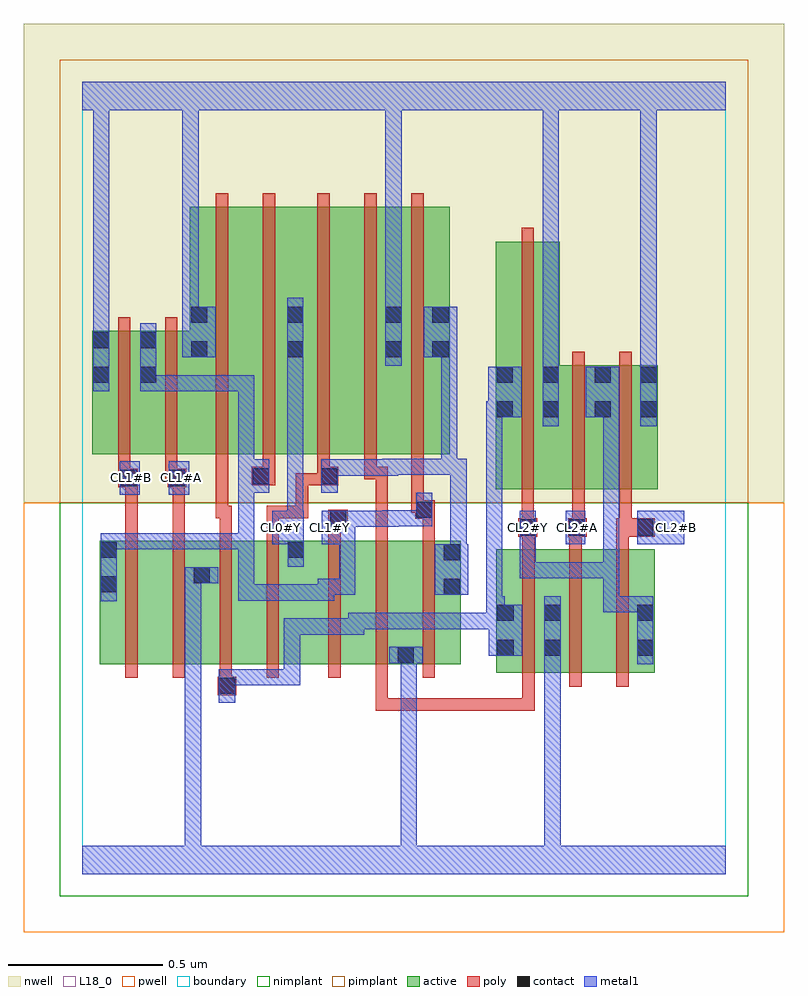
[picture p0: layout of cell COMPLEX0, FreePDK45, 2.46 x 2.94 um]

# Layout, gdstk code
import gdstk
lib = gdstk.Library(unit=1e-6, precision=1e-09)
def R(c, l, rs):  # rectangles x0, y0, x1, y1
    for r in rs: c.add(gdstk.rectangle(r[:2], r[2:], *l))
def A(c, l, x, y, w, h, nx, ny, dx, dy):  # array of equal rectangles
    R(c, l, [(x+i*dx, y+j*dy, x+i*dx+w, y+j*dy+h) for i in range(nx) for j in range(ny)])
active = (1, 0)
pwell = (2, 0)
nwell = (3, 0)
nimplant = (4, 0)
pimplant = (5, 0)
poly = (9, 0)
contact = (10, 0)
metal1 = (11, 0)
L18_0 = (18, 0)
boundary = (235, 0)

complex0 = lib.new_cell('COMPLEX0')
R(complex0, active, [(1.338,0.65,1.398,1.05), (1.338,0.65,1.55,1.05), (1.49,0.65,1.67,1.05), (1.49,0.65,1.55,0.874), (1.67,0.65,1.85,1.05), (1.79,0.65,1.85,1.05), (0.056,0.678,0.236,1.078), (0.236,0.678,0.416,1.078), (0.356,0.678,0.54,1.078), (0.54,0.678,0.72,1.078), (0.66,0.678,0.892,1.078), (0.892,0.678,1.076,1.078), (1.016,0.678,1.224,1.078), (1.016,0.678,1.076,0.792), (0.056,0.756,0.116,1.078), (0.356,0.756,0.416,0.996), (0.66,0.756,0.72,1.078), (1.164,0.756,1.224,1.078), (1.336,1.244,1.396,2.044), (1.336,1.244,1.544,2.044), (1.484,1.244,1.712,1.644), (1.484,1.244,1.544,2.044), (1.652,1.244,1.712,1.644), (1.652,1.244,1.86,1.644), (1.8,1.244,1.86,1.644), (0.032,1.356,0.092,1.756), (0.032,1.356,0.244,1.756), (0.184,1.356,0.408,1.756), (0.348,1.356,0.528,2.156), (0.528,1.356,0.718,2.156), (0.658,1.356,0.718,2.044), (0.658,1.356,0.856,2.156), (0.856,1.356,1.036,2.156), (0.976,1.356,1.188,2.156), (1.128,1.356,1.188,2.044), (0.976,1.366,1.036,2.044), (0.184,1.416,0.244,1.756), (0.348,1.498,0.408,2.156)])
R(complex0, pwell, [(-0.188,-0.188,2.268,1.2)])
R(complex0, nwell, [(-0.188,1.2,2.268,2.748)])
R(complex0, nimplant, [(-0.072,-0.072,2.152,1.2)])
R(complex0, pimplant, [(-0.072,1.2,2.152,2.632)])
A(complex0, poly, 1.422, 0.606, 0.04, 0.488, 3, 1, 0.152, 0)
A(complex0, poly, 0.14, 0.634, 0.04, 0.488, 4, 1, 0.152, 0)
A(complex0, poly, 0.796, 0.634, 0.04, 0.488, 3, 1, 0.152, 0)
A(complex0, poly, 1.422, 1.054, 0.04, 0.076, 3, 1, 0.152, 0)
A(complex0, poly, 0.76, 1.312, 0.04, 0.888, 3, 1, 0.152, 0)
R(complex0, poly, [(0.948,0.528,0.988,0.568), (0.948,0.528,0.988,0.568), (0.948,0.528,0.988,0.568), (0.948,0.528,1.094,0.568), (0.948,0.528,0.988,0.674), (1.054,0.528,1.094,0.568), (1.054,0.528,1.094,0.568), (1.054,0.528,1.094,0.568), (1.054,0.528,1.462,0.568), (1.422,0.528,1.462,0.568), (1.422,0.528,1.462,0.568), (1.422,0.528,1.462,0.568), (1.422,0.528,1.462,0.646), (0.438,0.578,0.498,0.638), (0.444,0.598,0.484,0.674), (0.14,1.082,0.18,1.29), (0.292,1.082,0.332,1.29), (0.444,1.082,0.484,1.19), (0.596,1.082,0.636,1.19), (0.796,1.082,0.836,1.158), (0.948,1.082,0.988,1.316), (1.1,1.082,1.14,1.188), (1.41,1.09,1.47,1.15), (1.57,1.09,1.63,1.15), (1.574,1.09,1.614,1.13), (1.574,1.09,1.614,1.13), (1.726,1.09,1.85,1.15), (1.42,1.11,1.46,1.24), (1.42,1.11,1.46,1.15), (1.42,1.11,1.46,1.15), (1.584,1.11,1.624,1.24), (1.736,1.11,1.776,1.24), (1.736,1.11,1.776,1.15), (1.736,1.11,1.776,1.15), (0.796,1.118,0.858,1.178), (1.076,1.148,1.14,1.208), (0.432,1.15,0.472,1.352), (0.432,1.15,0.482,1.19), (0.442,1.15,0.482,1.19), (0.442,1.15,0.484,1.19), (0.596,1.15,0.636,1.19), (0.596,1.15,0.73,1.19), (0.69,1.15,0.73,1.19), (0.69,1.15,0.73,1.296), (1.064,1.168,1.104,1.352), (1.064,1.168,1.116,1.208), (1.076,1.168,1.116,1.208), (1.42,1.2,1.46,2.088), (1.584,1.2,1.624,1.688), (1.736,1.2,1.776,1.688), (0.116,1.25,0.18,1.31), (0.14,1.25,0.18,1.29), (0.14,1.25,0.18,1.29), (0.276,1.25,0.336,1.31), (0.548,1.256,0.624,1.316), (0.69,1.256,0.73,1.296), (0.69,1.256,0.8,1.296), (0.76,1.256,0.828,1.316), (0.116,1.27,0.156,1.352), (0.268,1.27,0.308,1.352), (0.268,1.27,0.316,1.31), (0.276,1.27,0.316,1.31), (0.584,1.276,0.624,1.352), (0.76,1.276,0.8,1.352), (0.912,1.276,0.952,1.352), (0.912,1.276,0.964,1.316), (0.924,1.276,0.964,1.316), (0.924,1.276,0.988,1.316), (0.116,1.312,0.156,1.8), (0.268,1.312,0.308,1.8), (0.432,1.312,0.472,2.2), (0.584,1.312,0.624,2.2)])
R(complex0, contact, [(0.442,0.582,0.494,0.634), (1.02,0.682,1.072,0.734), (1.342,0.706,1.394,0.758), (1.494,0.706,1.546,0.758), (1.794,0.706,1.846,0.758), (1.342,0.818,1.394,0.87), (1.494,0.818,1.546,0.87), (1.794,0.818,1.846,0.87), (1.168,0.902,1.22,0.954), (0.06,0.91,0.112,0.962), (0.36,0.94,0.412,0.992), (1.168,1.014,1.22,1.066), (0.06,1.022,0.112,1.074), (0.664,1.022,0.716,1.074), (1.414,1.094,1.466,1.146), (1.574,1.094,1.626,1.146), (1.794,1.094,1.846,1.146), (0.802,1.122,0.854,1.174), (1.08,1.152,1.132,1.204), (0.124,1.254,0.176,1.306), (0.28,1.254,0.332,1.306), (0.552,1.26,0.604,1.312), (0.772,1.26,0.824,1.312), (1.34,1.476,1.392,1.528), (1.488,1.476,1.54,1.528), (1.656,1.476,1.708,1.528), (1.804,1.476,1.856,1.528), (0.036,1.588,0.088,1.64), (0.188,1.588,0.24,1.64), (1.34,1.588,1.392,1.64), (1.488,1.588,1.54,1.64), (1.656,1.588,1.708,1.64), (1.804,1.588,1.856,1.64), (0.352,1.67,0.404,1.722), (0.662,1.67,0.714,1.722), (0.98,1.67,1.032,1.722), (1.132,1.67,1.184,1.722), (0.036,1.7,0.088,1.752), (0.188,1.7,0.24,1.752), (0.352,1.782,0.404,1.834), (0.662,1.782,0.714,1.834), (0.98,1.782,1.032,1.834), (1.132,1.782,1.184,1.834)])
R(complex0, metal1, [(0,0,2.08,0.092), (0.332,0.04,0.384,0.092), (0.332,0.04,0.384,0.092), (0.332,0.04,0.384,0.092), (0.332,0.04,0.384,0.092), (0.332,0.04,0.384,0.092), (0.332,0.04,0.384,0.092), (0.332,0.04,0.384,0.092), (0.332,0.04,0.384,0.092), (0.332,0.04,0.384,0.092), (0.332,0.04,0.384,0.092), (0.332,0.04,0.384,0.992), (1.03,0.04,1.082,0.092), (1.03,0.04,1.082,0.092), (1.03,0.04,1.082,0.092), (1.03,0.04,1.082,0.092), (1.03,0.04,1.082,0.092), (1.03,0.04,1.082,0.092), (1.03,0.04,1.082,0.092), (1.03,0.04,1.082,0.092), (1.03,0.04,1.082,0.714), (1.494,0.04,1.546,0.092), (1.494,0.04,1.546,0.092), (1.494,0.04,1.546,0.73), (0.442,0.554,0.494,0.662), (0.442,0.61,0.494,0.662), (0.442,0.61,0.494,0.662), (0.442,0.61,0.704,0.662), (0.652,0.61,0.704,0.662), (0.652,0.61,0.704,0.662), (0.652,0.61,0.704,0.662), (0.652,0.61,0.704,0.662), (0.652,0.61,0.704,0.662), (0.652,0.61,0.704,0.826), (1.03,0.662,1.082,0.714), (1.03,0.662,1.082,0.714), (1.03,0.662,1.082,0.714), (1.03,0.662,1.082,0.734), (1.494,0.678,1.546,0.73), (1.494,0.678,1.546,0.73), (1.494,0.678,1.546,0.73), (1.494,0.678,1.546,0.73), (1.494,0.678,1.546,0.73), (1.494,0.678,1.546,0.73), (1.494,0.678,1.546,0.73), (1.494,0.678,1.546,0.73), (1.494,0.678,1.546,0.73), (1.494,0.678,1.546,0.73), (1.494,0.678,1.546,0.898), (1.794,0.678,1.846,0.898), (0.992,0.682,1.1,0.734), (1.314,0.706,1.422,0.87), (0.652,0.774,0.704,0.826), (0.652,0.774,0.912,0.826), (0.86,0.774,0.912,0.826), (0.86,0.774,0.912,0.826), (0.86,0.774,0.912,0.844), (0.86,0.792,1.022,0.844), (0.97,0.792,1.022,0.844), (0.97,0.792,1.022,0.844), (0.97,0.792,1.022,0.844), (0.97,0.792,1.248,0.844), (1.196,0.792,1.248,0.844), (1.196,0.792,1.356,0.844), (1.304,0.792,1.356,0.844), (1.304,0.792,1.366,0.844), (1.314,0.818,1.366,0.87), (1.314,0.818,1.366,0.87), (1.314,0.818,1.366,0.898), (1.306,0.846,1.358,0.898), (1.306,0.846,1.358,0.898), (1.306,0.846,1.358,1.528), (1.306,0.846,1.366,0.898), (1.684,0.846,1.736,0.898), (1.684,0.846,1.846,0.898), (1.684,0.846,1.736,1.008), (1.794,0.846,1.846,0.898), (1.794,0.846,1.846,0.898), (0.06,0.882,0.112,1.102), (0.504,0.884,0.556,0.936), (0.504,0.884,0.666,0.936), (0.504,0.884,0.556,1.102), (0.614,0.884,0.666,0.936), (0.614,0.884,0.666,0.936), (0.614,0.884,0.666,0.936), (0.614,0.884,0.814,0.936), (0.762,0.884,0.814,0.954), (0.762,0.902,0.882,0.954), (0.83,0.902,0.882,0.954), (0.83,0.902,0.882,0.954), (0.83,0.902,0.882,0.954), (0.83,0.902,0.882,1.174), (1.14,0.902,1.248,1.066), (0.332,0.94,0.384,0.992), (0.332,0.94,0.384,0.992), (0.332,0.94,0.44,0.992), (1.414,0.956,1.736,1.008), (1.414,0.956,1.466,1.174), (1.684,0.956,1.736,1.008), (1.684,0.956,1.736,1.008), (1.684,0.956,1.736,1.008), (1.684,0.956,1.736,1.008), (1.684,0.956,1.736,1.008), (1.684,0.956,1.736,1.528), (0.664,0.994,0.716,1.102), (1.19,1.014,1.242,1.342), (0.06,1.05,0.112,1.102), (0.06,1.05,0.112,1.102), (0.06,1.05,0.222,1.102), (0.17,1.05,0.222,1.102), (0.17,1.05,0.222,1.102), (0.17,1.05,0.222,1.102), (0.17,1.05,0.35,1.102), (0.298,1.05,0.35,1.102), (0.298,1.05,0.35,1.102), (0.298,1.05,0.35,1.102), (0.298,1.05,0.556,1.102), (0.504,1.05,0.556,1.102), (0.504,1.05,0.556,1.102), (0.504,1.05,0.556,1.102), (0.504,1.05,0.556,1.284), (0.664,1.05,0.716,1.118), (0.614,1.066,0.716,1.174), (0.774,1.066,0.882,1.174), (1.414,1.066,1.466,1.118), (1.414,1.066,1.466,1.174), (1.562,1.066,1.626,1.174), (1.794,1.066,1.946,1.174), (0.662,1.122,0.714,1.174), (0.662,1.122,0.714,1.174), (0.662,1.122,0.714,1.694), (0.83,1.122,0.882,1.174), (0.83,1.122,0.882,1.174), (0.83,1.122,1.022,1.174), (0.97,1.122,1.022,1.176), (0.97,1.124,1.022,1.176), (0.97,1.124,1.022,1.176), (0.97,1.124,1.132,1.176), (1.08,1.124,1.132,1.232), (0.122,1.226,0.186,1.334), (0.28,1.226,0.346,1.334), (0.504,1.232,0.556,1.284), (0.504,1.232,0.604,1.284), (0.504,1.232,0.556,1.612), (0.552,1.232,0.604,1.34), (0.772,1.232,0.826,1.34), (0.774,1.288,0.826,1.34), (0.774,1.288,0.826,1.34), (0.774,1.288,1.022,1.34), (0.97,1.288,1.022,1.34), (0.97,1.288,1.022,1.34), (0.97,1.288,1.022,1.342), (0.97,1.29,1.212,1.342), (1.16,1.29,1.212,1.342), (1.16,1.29,1.212,1.342), (1.16,1.29,1.212,1.722), (1.16,1.29,1.242,1.342), (1.19,1.29,1.242,1.342), (1.19,1.29,1.242,1.342), (1.488,1.448,1.54,1.668), (1.804,1.448,1.856,1.668), (1.306,1.476,1.364,1.528), (1.312,1.476,1.364,1.528), (1.312,1.476,1.42,1.64), (1.628,1.476,1.736,1.64), (0.036,1.56,0.088,1.78), (0.188,1.56,0.24,1.612), (0.188,1.56,0.24,1.612), (0.188,1.56,0.24,1.78), (0.188,1.56,0.35,1.612), (0.298,1.56,0.35,1.612), (0.298,1.56,0.35,1.612), (0.298,1.56,0.35,1.612), (0.298,1.56,0.556,1.612), (0.504,1.56,0.556,1.612), (1.488,1.616,1.54,1.668), (1.488,1.616,1.54,1.668), (1.488,1.616,1.54,1.668), (1.488,1.616,1.54,1.668), (1.488,1.616,1.54,1.668), (1.488,1.616,1.54,1.668), (1.488,1.616,1.54,1.668), (1.488,1.616,1.54,1.668), (1.488,1.616,1.54,2.52), (1.804,1.616,1.856,1.668), (1.804,1.616,1.856,1.668), (1.804,1.616,1.856,1.668), (1.804,1.616,1.856,1.668), (1.804,1.616,1.856,2.52), (0.662,1.642,0.714,1.862), (0.98,1.642,1.032,1.862), (0.324,1.67,0.432,1.834), (1.104,1.67,1.212,1.834), (0.036,1.728,0.088,1.78), (0.036,1.728,0.088,1.78), (0.036,1.728,0.088,1.78), (0.036,1.728,0.088,1.78), (0.036,1.728,0.088,1.78), (0.036,1.728,0.088,1.78), (0.036,1.728,0.088,1.78), (0.036,1.728,0.088,1.78), (0.036,1.728,0.088,1.78), (0.036,1.728,0.088,1.78), (0.036,1.728,0.088,1.78), (0.036,1.728,0.088,1.78), (0.036,1.728,0.088,1.78), (0.036,1.728,0.088,1.78), (0.036,1.728,0.088,2.52), (0.324,1.782,0.376,2.52), (0.98,1.81,1.032,2.52), (0,2.468,2.08,2.56), (0.036,2.468,0.088,2.52), (0.036,2.468,0.088,2.52), (0.324,2.468,0.376,2.52), (0.324,2.468,0.376,2.52), (0.324,2.468,0.376,2.52), (0.324,2.468,0.376,2.52), (0.324,2.468,0.376,2.52), (0.324,2.468,0.376,2.52), (0.324,2.468,0.376,2.52), (0.324,2.468,0.376,2.52), (0.98,2.468,1.032,2.52), (0.98,2.468,1.032,2.52), (0.98,2.468,1.032,2.52), (0.98,2.468,1.032,2.52), (0.98,2.468,1.032,2.52), (0.98,2.468,1.032,2.52), (0.98,2.468,1.032,2.52), (0.98,2.468,1.032,2.52), (1.804,2.468,1.856,2.52), (1.804,2.468,1.856,2.52), (1.804,2.468,1.856,2.52), (1.804,2.468,1.856,2.52), (1.804,2.468,1.856,2.52), (1.804,2.468,1.856,2.52), (1.804,2.468,1.856,2.52), (1.804,2.468,1.856,2.52), (1.804,2.468,1.856,2.52), (1.804,2.468,1.856,2.52), (1.804,2.468,1.856,2.52), (1.804,2.468,1.856,2.52)])
R(complex0, L18_0, [(0,0,2.08,0.092), (0.332,0.04,0.384,0.092), (0.332,0.04,0.384,0.092), (0.332,0.04,0.384,0.092), (0.332,0.04,0.384,0.092), (0.332,0.04,0.384,0.092), (0.332,0.04,0.384,0.092), (0.332,0.04,0.384,0.092), (0.332,0.04,0.384,0.092), (0.332,0.04,0.384,0.092), (0.332,0.04,0.384,0.092), (0.332,0.04,0.384,0.992), (1.03,0.04,1.082,0.092), (1.03,0.04,1.082,0.092), (1.03,0.04,1.082,0.092), (1.03,0.04,1.082,0.092), (1.03,0.04,1.082,0.092), (1.03,0.04,1.082,0.092), (1.03,0.04,1.082,0.092), (1.03,0.04,1.082,0.092), (1.03,0.04,1.082,0.714), (1.494,0.04,1.546,0.092), (1.494,0.04,1.546,0.092), (1.494,0.04,1.546,0.73), (1.03,0.662,1.082,0.714), (1.03,0.662,1.082,0.714), (1.03,0.662,1.082,0.714), (1.03,0.662,1.082,0.734), (1.494,0.678,1.546,0.898), (1.494,0.678,1.546,0.73), (1.494,0.678,1.546,0.73), (1.494,0.678,1.546,0.73), (1.494,0.678,1.546,0.73), (1.494,0.678,1.546,0.73), (1.494,0.678,1.546,0.73), (1.494,0.678,1.546,0.73), (1.494,0.678,1.546,0.73), (1.494,0.678,1.546,0.73), (1.494,0.678,1.546,0.73), (1.794,0.678,1.846,0.898), (0.992,0.682,1.1,0.734), (1.684,0.846,1.736,0.898), (1.684,0.846,1.846,0.898), (1.684,0.846,1.736,1.008), (1.794,0.846,1.846,0.898), (1.794,0.846,1.846,0.898), (0.06,0.882,0.112,1.102), (0.504,0.884,0.556,0.936), (0.504,0.884,0.666,0.936), (0.504,0.884,0.556,1.102), (0.614,0.884,0.666,0.936), (0.614,0.884,0.666,0.936), (0.614,0.884,0.666,0.936), (0.614,0.884,0.814,0.936), (0.762,0.884,0.814,0.954), (0.762,0.902,0.882,0.954), (0.83,0.902,0.882,0.954), (0.83,0.902,0.882,0.954), (0.83,0.902,0.882,0.954), (0.83,0.902,0.882,1.174), (0.332,0.94,0.384,0.992), (0.332,0.94,0.384,0.992), (0.332,0.94,0.44,0.992), (1.414,0.956,1.466,1.174), (1.414,0.956,1.736,1.008), (1.684,0.956,1.736,1.008), (1.684,0.956,1.736,1.008), (1.684,0.956,1.736,1.008), (1.684,0.956,1.736,1.008), (1.684,0.956,1.736,1.008), (1.684,0.956,1.736,1.528), (0.664,0.994,0.716,1.102), (0.06,1.05,0.112,1.102), (0.06,1.05,0.112,1.102), (0.06,1.05,0.222,1.102), (0.17,1.05,0.222,1.102), (0.17,1.05,0.222,1.102), (0.17,1.05,0.222,1.102), (0.17,1.05,0.35,1.102), (0.298,1.05,0.35,1.102), (0.298,1.05,0.35,1.102), (0.298,1.05,0.35,1.102), (0.298,1.05,0.556,1.102), (0.504,1.05,0.556,1.102), (0.504,1.05,0.556,1.102), (0.504,1.05,0.556,1.102), (0.504,1.05,0.556,1.284), (0.664,1.05,0.716,1.118), (0.614,1.066,0.716,1.174), (0.774,1.066,0.882,1.174), (1.414,1.066,1.466,1.118), (1.414,1.066,1.466,1.174), (1.562,1.066,1.626,1.174), (1.794,1.066,1.946,1.174), (0.614,1.094,0.666,1.146), (0.774,1.094,0.826,1.146), (1.414,1.094,1.466,1.146), (1.574,1.094,1.626,1.146), (1.894,1.094,1.946,1.146), (0.662,1.122,0.714,1.174), (0.662,1.122,0.714,1.174), (0.662,1.122,0.714,1.694), (0.83,1.122,0.882,1.174), (0.83,1.122,0.882,1.174), (0.83,1.122,1.022,1.174), (0.97,1.122,1.022,1.176), (0.97,1.124,1.022,1.176), (0.97,1.124,1.022,1.176), (0.97,1.124,1.132,1.176), (1.08,1.124,1.132,1.232), (0.122,1.226,0.186,1.334), (0.28,1.226,0.346,1.334), (0.504,1.232,0.556,1.284), (0.504,1.232,0.556,1.612), (0.504,1.232,0.604,1.284), (0.552,1.232,0.604,1.34), (0.134,1.254,0.186,1.306), (0.294,1.254,0.346,1.306), (1.488,1.448,1.54,1.668), (1.804,1.448,1.856,1.668), (1.628,1.476,1.736,1.64), (0.036,1.56,0.088,1.78), (0.188,1.56,0.24,1.78), (0.188,1.56,0.24,1.612), (0.188,1.56,0.24,1.612), (0.188,1.56,0.35,1.612), (0.298,1.56,0.35,1.612), (0.298,1.56,0.35,1.612), (0.298,1.56,0.35,1.612), (0.298,1.56,0.556,1.612), (0.504,1.56,0.556,1.612), (1.488,1.616,1.54,1.668), (1.488,1.616,1.54,1.668), (1.488,1.616,1.54,1.668), (1.488,1.616,1.54,1.668), (1.488,1.616,1.54,1.668), (1.488,1.616,1.54,1.668), (1.488,1.616,1.54,1.668), (1.488,1.616,1.54,1.668), (1.488,1.616,1.54,2.52), (1.804,1.616,1.856,1.668), (1.804,1.616,1.856,1.668), (1.804,1.616,1.856,1.668), (1.804,1.616,1.856,1.668), (1.804,1.616,1.856,2.52), (0.662,1.642,0.714,1.862), (0.98,1.642,1.032,1.862), (0.324,1.67,0.432,1.834), (0.036,1.728,0.088,1.78), (0.036,1.728,0.088,1.78), (0.036,1.728,0.088,1.78), (0.036,1.728,0.088,1.78), (0.036,1.728,0.088,1.78), (0.036,1.728,0.088,1.78), (0.036,1.728,0.088,1.78), (0.036,1.728,0.088,1.78), (0.036,1.728,0.088,1.78), (0.036,1.728,0.088,1.78), (0.036,1.728,0.088,1.78), (0.036,1.728,0.088,1.78), (0.036,1.728,0.088,1.78), (0.036,1.728,0.088,1.78), (0.036,1.728,0.088,2.52), (0.324,1.782,0.376,2.52), (0.98,1.81,1.032,2.52), (0,2.468,2.08,2.56), (0.036,2.468,0.088,2.52), (0.036,2.468,0.088,2.52), (0.324,2.468,0.376,2.52), (0.324,2.468,0.376,2.52), (0.324,2.468,0.376,2.52), (0.324,2.468,0.376,2.52), (0.324,2.468,0.376,2.52), (0.324,2.468,0.376,2.52), (0.324,2.468,0.376,2.52), (0.324,2.468,0.376,2.52), (0.98,2.468,1.032,2.52), (0.98,2.468,1.032,2.52), (0.98,2.468,1.032,2.52), (0.98,2.468,1.032,2.52), (0.98,2.468,1.032,2.52), (0.98,2.468,1.032,2.52), (0.98,2.468,1.032,2.52), (0.98,2.468,1.032,2.52), (1.804,2.468,1.856,2.52), (1.804,2.468,1.856,2.52), (1.804,2.468,1.856,2.52), (1.804,2.468,1.856,2.52), (1.804,2.468,1.856,2.52), (1.804,2.468,1.856,2.52), (1.804,2.468,1.856,2.52), (1.804,2.468,1.856,2.52), (1.804,2.468,1.856,2.52), (1.804,2.468,1.856,2.52), (1.804,2.468,1.856,2.52), (1.804,2.468,1.856,2.52)])
R(complex0, boundary, [(0,0,2.08,2.56)])
complex0.add(gdstk.Label('CL0#Y', (0.64,1.12), layer=11, texttype=0))
complex0.add(gdstk.Label('CL1#A', (0.32,1.28), layer=11, texttype=0))
complex0.add(gdstk.Label('CL1#B', (0.16,1.28), layer=11, texttype=0))
complex0.add(gdstk.Label('CL1#Y', (0.8,1.12), layer=11, texttype=0))
complex0.add(gdstk.Label('CL2#A', (1.6,1.12), layer=11, texttype=0))
complex0.add(gdstk.Label('CL2#B', (1.92,1.12), layer=11, texttype=0))
complex0.add(gdstk.Label('CL2#Y', (1.44,1.12), layer=11, texttype=0))

lib.write_gds('COMPLEX0.gds')
